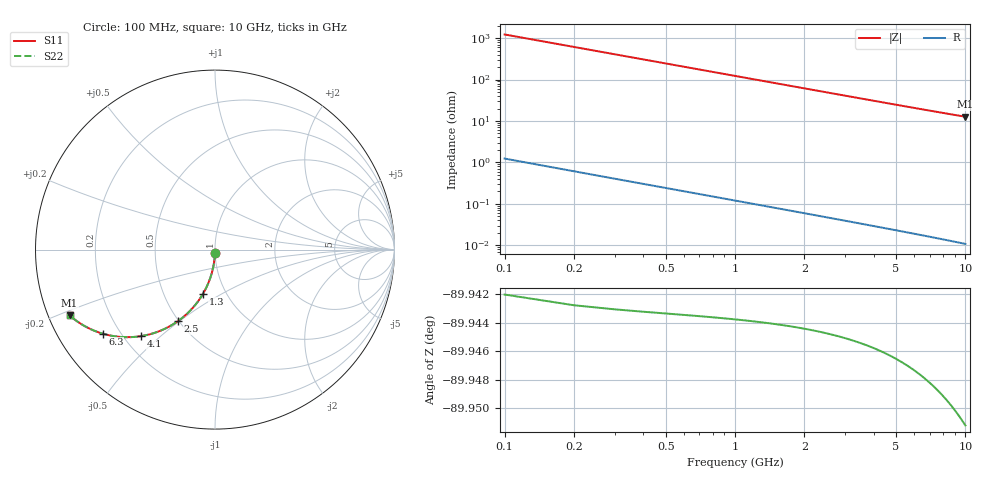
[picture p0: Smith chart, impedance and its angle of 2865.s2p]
# Hz S RI R 50.00
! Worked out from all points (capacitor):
!   100 points, 100 MHz to 10 GHz, reference 50 ohm
!   read as one part in shunt: C = 1.3 pF near 100 MHz
!   lowest |Z| = 12.7 ohm at 10 GHz (marker M1)
!   S11 on the Smith chart (normalised r, x): 100 MHz: 1.00, -0.04; 1.3 GHz: 0.78, -0.41; 2.5 GHz: 0.49, -0.49; 4.1 GHz: 0.27, -0.43; 6.3 GHz: 0.14, -0.33; 10 GHz: 0.06, -0.21
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1e8  -0.000372 -0.0202  0.9995 -0.0206  0.9995 -0.0206  -0.000372 -0.0202
2e8  -0.00164 -0.0403  0.9982 -0.0412  0.9982 -0.0412  -0.00164 -0.0403
3e8  -0.00373 -0.0603  0.9961 -0.0617  0.9961 -0.0617  -0.00373 -0.0603
4e8  -0.00663 -0.0801  0.9932 -0.082  0.9932 -0.082  -0.00663 -0.0801
5e8  -0.0103 -0.0998  0.9895 -0.1021  0.9895 -0.1021  -0.0103 -0.0998
6e8  -0.0148 -0.1192  0.985 -0.122  0.985 -0.122  -0.0148 -0.1192
8e8  -0.026 -0.1571  0.9738 -0.1609  0.9738 -0.1609  -0.026 -0.1571
1e9  -0.0401 -0.1935  0.9598 -0.1982  0.9598 -0.1982  -0.0401 -0.1935
1.3e9  -0.0659 -0.2447  0.9339 -0.2508  0.9339 -0.2508  -0.0659 -0.2447
1.5e9  -0.0859 -0.2762  0.914 -0.2833  0.914 -0.2833  -0.0859 -0.2762
1.8e9  -0.1191 -0.3193  0.8807 -0.3278  0.8807 -0.3278  -0.1191 -0.3193
2.1e9  -0.1555 -0.357  0.8444 -0.3669  0.8444 -0.3669  -0.1555 -0.357
2.5e9  -0.2069 -0.3988  0.7929 -0.4106  0.7929 -0.4106  -0.2069 -0.3988
2.9e9  -0.2599 -0.4313  0.7399 -0.445  0.7399 -0.445  -0.2599 -0.4313
3.4e9  -0.3257 -0.4601  0.674 -0.4762  0.674 -0.4762  -0.3257 -0.4601
4.1e9  -0.4128 -0.4821  0.5868 -0.5016  0.5868 -0.5016  -0.4128 -0.4821
5.1e9  -0.5215 -0.4868  0.478 -0.5112  0.478 -0.5112  -0.5215 -0.4868
6.3e9  -0.6253 -0.4683  0.3741 -0.4986  0.3741 -0.4986  -0.6253 -0.4683
6.7e9  -0.6539 -0.4589  0.3454 -0.4912  0.3454 -0.4912  -0.6539 -0.4589
7.5e9  -0.7036 -0.4378  0.2956 -0.4741  0.2956 -0.4741  -0.7036 -0.4378
8.4e9  -0.7493 -0.4122  0.2497 -0.4531  0.2497 -0.4531  -0.7493 -0.4122
1e10  -0.81 -0.3666  0.1886 -0.4158  0.1886 -0.4158  -0.81 -0.3666
